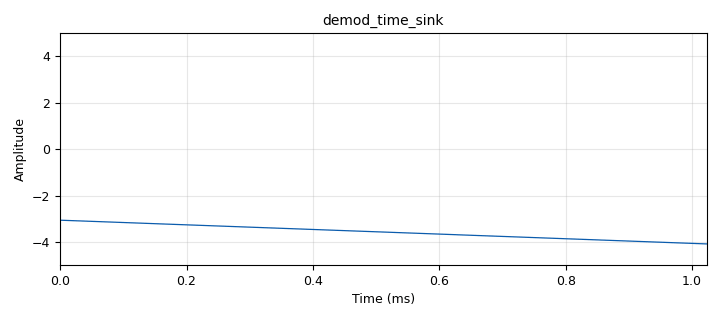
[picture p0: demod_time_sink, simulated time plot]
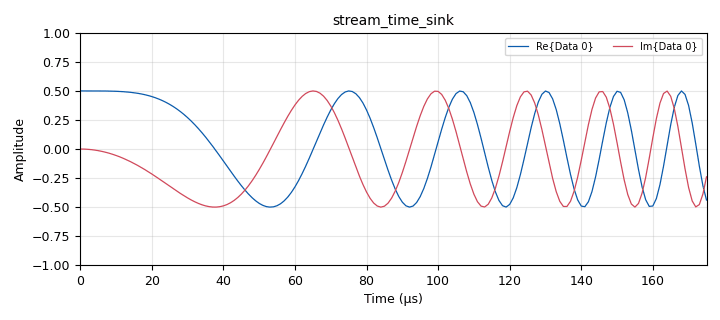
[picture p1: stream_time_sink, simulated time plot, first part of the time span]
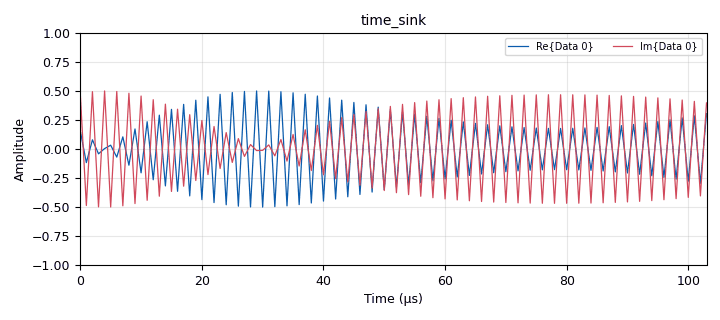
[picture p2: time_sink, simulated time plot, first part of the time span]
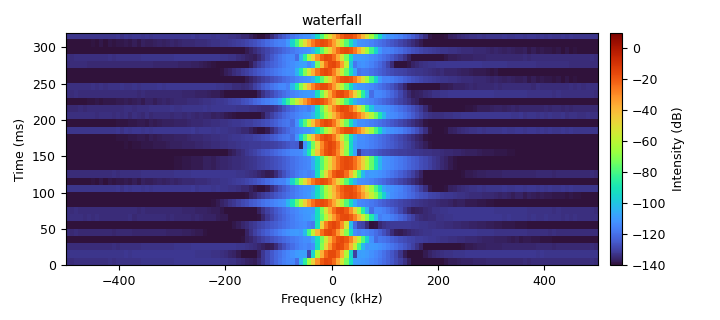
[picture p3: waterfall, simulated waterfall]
options:
  parameters:
    author: J. Gilbert
    copyright: J. Gilbert
    description: Use of PDU Lambda block
    generate_options: qt_gui
    id: pdu_lambda_chirp_demo
    output_language: python
    title: PDU Lambda Chirp Demo
  states: {}

blocks:
- name: N
  id: variable
  parameters:
    value: 1024*4
  states: {}
- name: k
  id: variable_qtgui_range
  parameters:
    label: Gain
    orient: QtCore.Qt.Orientation.Horizontal
    start: '0.1'
    step: '0.01'
    stop: '2'
    value: '0.5'
  states: {}
- name: samp_rate
  id: variable
  parameters:
    value: '1000000'
  states: {}
- name: vec
  id: variable
  parameters:
    value: pmt.init_f32vector(N, np.arange(N))
  states: {}
- name: demod_time_sink
  id: qtgui_time_sink_x
  parameters:
    gui_hint: 1,1,1,1
    srate: samp_rate
    type: msg_float
    ymax: '5'
    ymin: '-5'
  states: {}
- name: lambda1
  id: pdu_pdu_lambda
  parameters:
    fn: 'lambda x: k * np.complex64(np.exp(2*np.pi * 1j  * x * x * (0.05 * (np.random.randint(40)-19.5) / len(x)) ))'
    metadict: Uniform Vector
  states: {}
- name: lambda2
  id: pdu_pdu_lambda
  parameters:
    fn: 'lambda x: np.float32(np.unwrap(np.angle(x[1:]) - np.angle(x[:-1])))'
    metadict: Uniform Vector
  states: {}
- name: note
  id: note
  parameters:
    comment: |-
      This flowgraph will generate and transmit random up or down
      chirps from a USRP using PDU Lambda and the PDU to Stream
      blocks. It is not intended to be a practical example, but it can be
      relatively easily modified to transmit meaningful signals.
    note: Flowgraph Summary
  states: {}
- name: pdu2stream
  id: pdu_pdu_to_stream_x
  parameters:
    early_behavior: pdu.EARLY_BURST_APPEND
    type: complex
  states: {}
- name: stream_time_sink
  id: qtgui_time_sink_x
  parameters:
    size: N*2
    srate: samp_rate
    type: complex
  states: {}
- name: strobe
  id: blocks_message_strobe
  parameters:
    msg: pmt.cons(pmt.PMT_NIL, vec)
    period: '250'
  states: {}
- name: time_sink
  id: qtgui_time_sink_x
  parameters:
    gui_hint: 0,1,1,1
    srate: samp_rate
    type: msg_complex
  states: {}
- name: uhd_sink
  id: uhd_usrp_sink
  parameters:
    ant0: '"TX/RX"'
    center_freq0: 915e6
    gain0: '0'
    samp_rate: samp_rate
    sync: sync
    type: fc32
  states: {state: disabled}
- name: waterfall
  id: qtgui_waterfall_sink_x
  parameters:
    bw: samp_rate
    fc: '0'
    fftsize: '128'
    gui_hint: 0,0,2,1
    type: msg_complex
  states: {}

connections:
- [lambda1, pdu, lambda2, pdu]
- [lambda1, pdu, pdu2stream, pdus]
- [lambda1, pdu, time_sink, in]
- [lambda1, pdu, waterfall, in]
- [lambda2, pdu, demod_time_sink, in]
- [pdu2stream, '0', stream_time_sink, '0']
- [pdu2stream, '0', uhd_sink, '0']
- [strobe, strobe, lambda1, pdu]

metadata:
  file_format: 1
